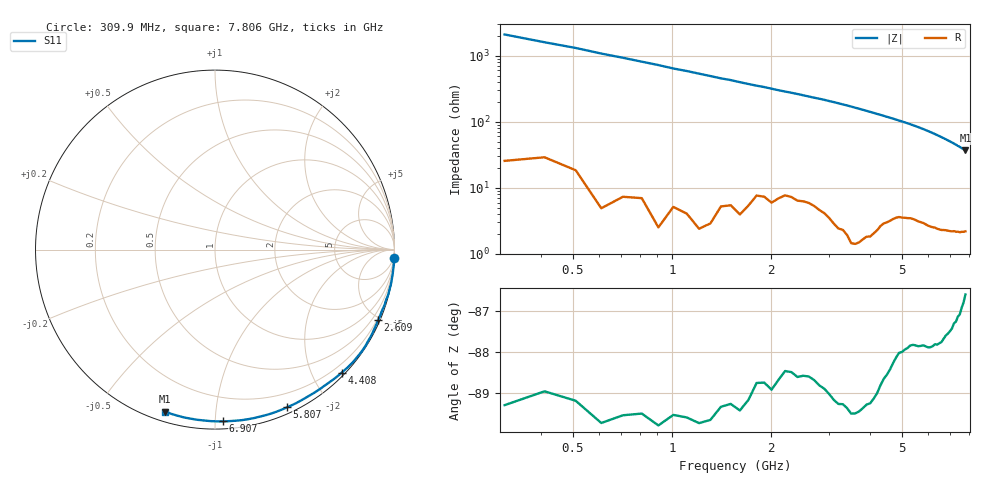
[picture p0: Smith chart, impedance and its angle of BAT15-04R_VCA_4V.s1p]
! Infineon Technologies  Discrete & RF Semiconductors
! BAT15-04R
! VCA = 4 V
! One-Port S-Parameters
# Hz  S  MA  R  50
!f  S11
!Hz  Mag  Ang
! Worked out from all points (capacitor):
!   76 points, 309.9 MHz to 7.806 GHz, reference 50 ohm
!   read as one part to ground: C = 242 fF near 309.9 MHz
!   lowest |Z| = 36.8 ohm at 7.806 GHz (marker M1)
!   S11 on the Smith chart (normalised r, x): 309.9 MHz: 1, -42; 2.609 GHz: 0.12, -4.83; 4.408 GHz: 0.06, -2.46; 5.807 GHz: 0.06, -1.55; 6.907 GHz: 0.04, -1.05; 7.806 GHz: 0.04, -0.74
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3.0985e8  0.9994 -2.7
9.0955e8  0.9995 -7.9
1.30935e9  0.9988 -11.6
1.6092e9  0.9976 -14.3
2.009e9  0.9942 -17.9
2.2089e9  0.991 -19.7
2.6087e9  0.9903 -23.4
2.90855e9  0.9916 -26.2
3.2084e9  0.9938 -29.4
3.50825e9  0.9954 -32.7
3.70815e9  0.9946 -35.2
4.10795e9  0.9903 -40.2
4.4078e9  0.9837 -44.2
4.70765e9  0.9776 -48.3
5.0075e9  0.9726 -52.5
5.30735e9  0.9688 -57.1
5.50725e9  0.9677 -60.3
5.8071e9  0.9661 -65.5
6.007e9  0.966 -69.1
6.2069e9  0.9648 -72.9
6.50675e9  0.9627 -78.9
6.70665e9  0.9604 -83.1
6.90655e9  0.958 -87.3
7.10645e9  0.9559 -91.6
7.30635e9  0.9533 -96.0
7.50625e9  0.9509 -100.5
7.70615e9  0.9471 -104.9
7.8061e9  0.9446 -107.3
